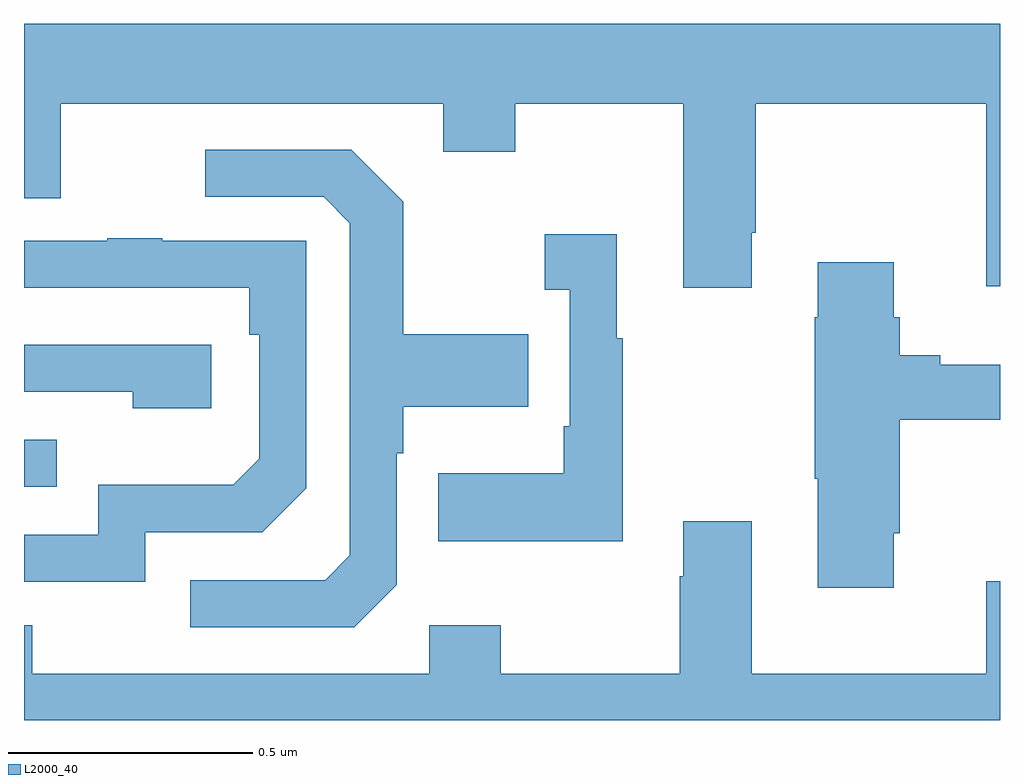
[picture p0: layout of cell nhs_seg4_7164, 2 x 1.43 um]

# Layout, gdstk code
import gdstk
lib = gdstk.Library(unit=1e-6, precision=1e-09)
def R(c, l, rs):  # rectangles x0, y0, x1, y1
    for r in rs: c.add(gdstk.rectangle(r[:2], r[2:], *l))
def P(c, l, *ps):  # polygons
    for p in ps: c.add(gdstk.Polygon(p, *l))
L2000_40 = (2000, 40)

nhs_seg4_7164 = lib.new_cell('nhs_seg4_7164')
R(nhs_seg4_7164, L2000_40, [(199,785.379,199.067,785.475)])
P(nhs_seg4_7164, L2000_40, [(200.491,785.899),(200.499,785.899),(200.499,786.164),(200.972,786.164),(200.972,785.79),(201,785.79),(201,786.328),(199,786.328),(199,785.97),(199.075,785.97),(199.075,786.164),(199.859,786.164),(199.859,786.065),(200.007,786.065),(200.007,786.164),(200.351,786.164),(200.351,785.787),(200.491,785.787)],
  [(199.764,785.178),(199.764,785.447),(199.777,785.447),(199.777,785.543),(200.033,785.543),(200.033,785.691),(199.777,785.691),(199.777,785.963),(199.671,786.069),(199.371,786.069),(199.371,785.973),(199.614,785.973),(199.668,785.919),(199.668,785.238),(199.617,785.187),(199.341,785.187),(199.341,785.091),(199.677,785.091)],
  [(200.227,785.683),(200.215,785.683),(200.215,785.896),(200.067,785.896),(200.067,785.783),(200.118,785.783),(200.118,785.503),(200.106,785.503),(200.106,785.407),(199.849,785.407),(199.849,785.267),(200.227,785.267)],
  [(199.248,785.286),(199.488,785.286),(199.578,785.376),(199.578,785.883),(199.283,785.883),(199.283,785.888),(199.171,785.888),(199.171,785.883),(199,785.883),(199,785.787),(199.462,785.787),(199.462,785.69),(199.482,785.69),(199.482,785.436),(199.429,785.383),(199.152,785.383),(199.152,785.28),(199,785.28),(199,785.184),(199.248,785.184)],
  [(200.782,785.284),(200.795,785.284),(200.795,785.516),(201,785.516),(201,785.629),(200.878,785.629),(200.878,785.648),(200.795,785.648),(200.795,785.726),(200.782,785.726),(200.782,785.839),(200.627,785.839),(200.627,785.726),(200.62,785.726),(200.62,785.395),(200.627,785.395),(200.627,785.172),(200.782,785.172)],
  [(199.384,785.67),(199,785.67),(199,785.574),(199.223,785.574),(199.223,785.54),(199.384,785.54)],
  [(201,785.185),(200.972,785.185),(200.972,784.996),(200.491,784.996),(200.491,785.308),(200.351,785.308),(200.351,785.195),(200.344,785.195),(200.344,784.996),(199.977,784.996),(199.977,785.095),(199.83,785.095),(199.83,784.996),(199.017,784.996),(199.017,785.095),(199,785.095),(199,784.9),(201,784.9)])

lib.write_gds('nhs_seg4_7164.gds')
